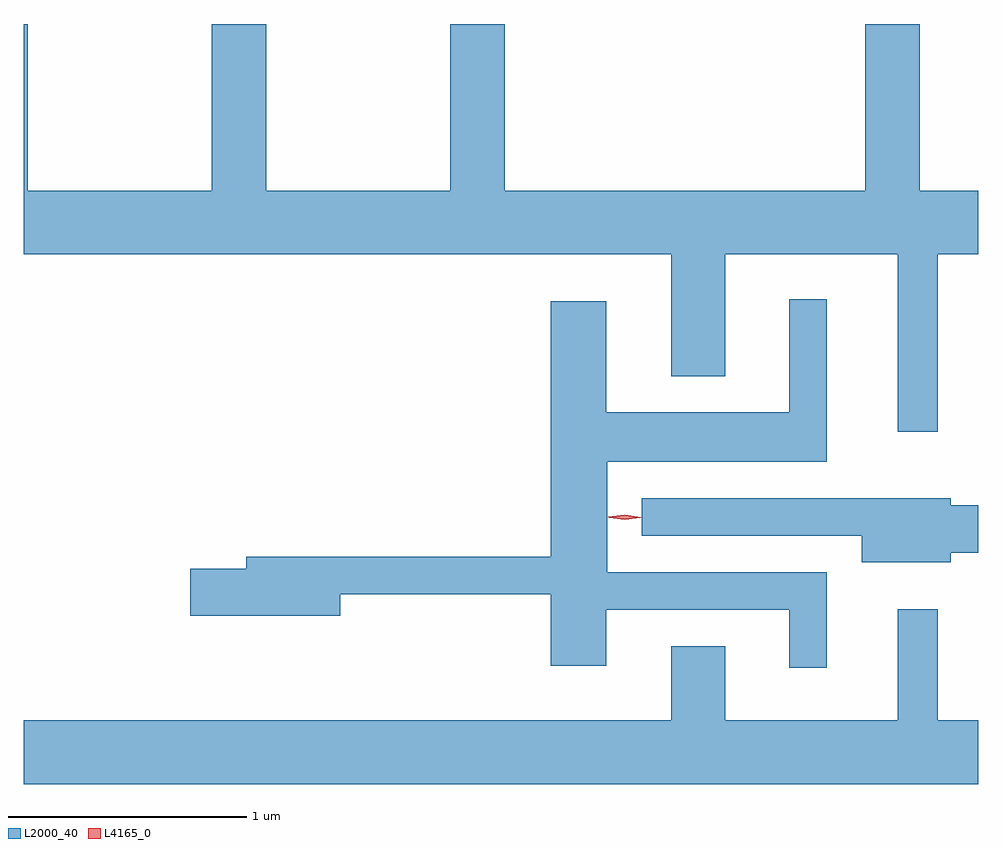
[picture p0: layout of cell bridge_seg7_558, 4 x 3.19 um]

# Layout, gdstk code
import gdstk
lib = gdstk.Library(unit=1e-6, precision=1e-09)
def P(c, l, *ps):  # polygons
    for p in ps: c.add(gdstk.Polygon(p, *l))
L2000_40 = (2000, 40)
L4165_0 = (4165, 0)

bridge_seg7_558 = lib.new_cell('bridge_seg7_558')
P(bridge_seg7_558, L2000_40, [(961.654,1790.762),(961.426,1790.762),(961.426,1790.064),(959.914,1790.064),(959.914,1790.762),(959.686,1790.762),(959.686,1790.064),(958.914,1790.064),(958.914,1790.762),(958.686,1790.762),(958.686,1790.064),(957.914,1790.064),(957.914,1790.762),(957.898,1790.762),(957.898,1789.796),(960.611,1789.796),(960.611,1789.286),(960.839,1789.286),(960.839,1789.796),(961.561,1789.796),(961.561,1789.053),(961.729,1789.053),(961.729,1789.796),(961.898,1789.796),(961.898,1790.064),(961.654,1790.064)],
  [(961.264,1788.464),(960.344,1788.464),(960.344,1788.926),(961.264,1788.926),(961.264,1789.608),(961.106,1789.608),(961.106,1789.134),(960.339,1789.134),(960.339,1789.599),(960.106,1789.599),(960.106,1788.529),(958.831,1788.529),(958.831,1788.479),(958.596,1788.479),(958.596,1788.281),(959.224,1788.281),(959.224,1788.371),(960.106,1788.371),(960.106,1788.071),(960.339,1788.071),(960.339,1788.306),(961.106,1788.306),(961.106,1788.063),(961.264,1788.063)],
  [(961.784,1788.546),(961.898,1788.546),(961.898,1788.744),(961.784,1788.744),(961.784,1788.774),(960.488,1788.774),(960.488,1788.616),(961.411,1788.616),(961.411,1788.506),(961.784,1788.506)],
  [(961.898,1787.844),(961.729,1787.844),(961.729,1788.308),(961.561,1788.308),(961.561,1787.844),(960.839,1787.844),(960.839,1788.154),(960.611,1788.154),(960.611,1787.844),(957.898,1787.844),(957.898,1787.576),(961.898,1787.576)])
P(bridge_seg7_558, L4165_0, [(960.416,1788.685),(960.347,1788.695),(960.347,1788.695),(960.347,1788.696),(960.417,1788.705),(960.486,1788.695),(960.486,1788.695),(960.486,1788.694)],
  [(960.417,1788.684),(960.351,1788.693),(960.35,1788.694),(960.351,1788.694),(960.417,1788.704),(960.482,1788.694),(960.483,1788.694),(960.482,1788.693)])

lib.write_gds('bridge_seg7_558.gds')
